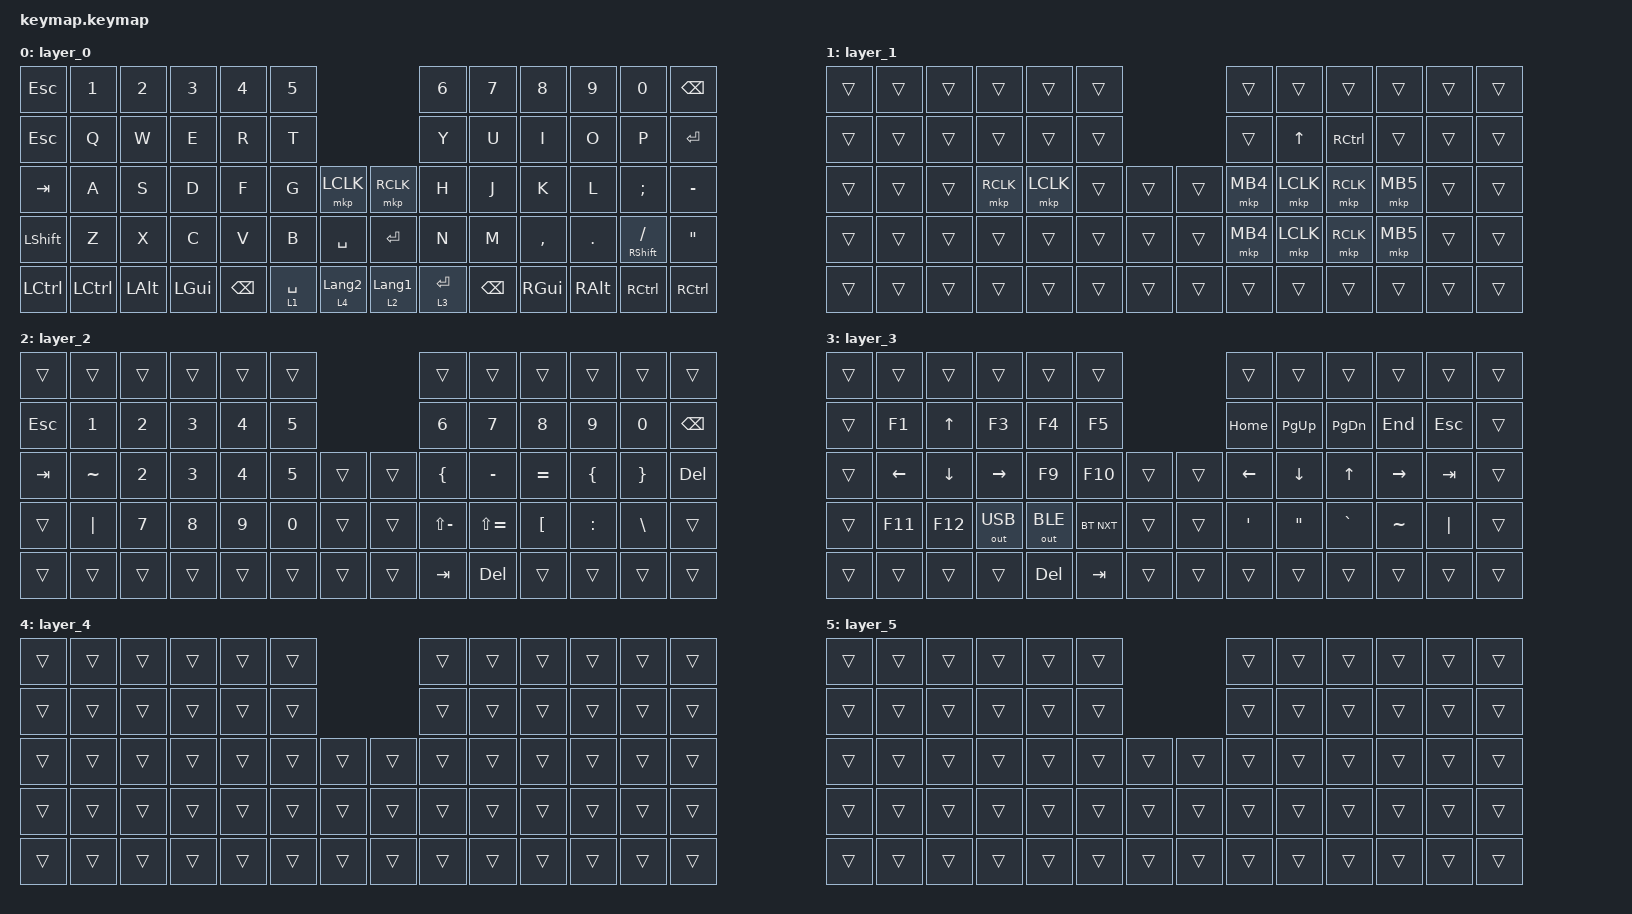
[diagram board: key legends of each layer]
#include <behaviors.dtsi>
#include <dt-bindings/zmk/bt.h>
#include <dt-bindings/zmk/keys.h>
#include <dt-bindings/zmk/outputs.h>
#include <dt-bindings/zmk/pointing.h>

/ {
    combos {
        compatible = "zmk,combos";

        bt_clear {
            bindings = <&bt BT_CLR>;
            key-positions = <28 29>;
            layers = <2>;
        };
    };

    keymap {
        compatible = "zmk,keymap";

        layer_0 {
            bindings = <
&kp ESC    &kp N1     &kp N2        &kp N3        &kp N4         &kp N5                                           &kp N6       &kp N7    &kp N8         &kp N9         &kp N0                &kp BSPC
&kp ESC    &kp Q      &kp W         &kp E         &kp R          &kp T                                            &kp Y        &kp U     &kp I          &kp O          &kp P                 &kp ENTER
&kp TAB    &kp A      &kp S         &kp D         &kp F          &kp G        &mkp LCLK         &mkp RCLK         &kp H        &kp J     &kp K          &kp L          &kp SEMI              &kp MINUS
&kp LSHFT  &kp Z      &kp X         &kp C         &kp V          &kp B        &kp SPACE         &kp RET           &kp N        &kp M     &kp COMMA      &kp DOT        &mt RIGHT_SHIFT FSLH  &kp DQT
&kp LCTRL  &kp LCTRL  &kp LEFT_ALT  &kp LEFT_GUI  &kp BACKSPACE  &lt 1 SPACE  &lt 4 LANGUAGE_2  &lt 2 LANGUAGE_1  &lt 3 ENTER  &kp BSPC  &kp RIGHT_GUI  &kp RIGHT_ALT  &kp RCTRL             &kp RCTRL
            >;
        };

        layer_1 {
            bindings = <
&trans  &trans  &trans  &trans     &trans     &trans                  &trans    &trans        &trans     &trans    &trans  &trans
&trans  &trans  &trans  &trans     &trans     &trans                  &trans    &kp UP_ARROW  &kp RCTRL  &trans    &trans  &trans
&trans  &trans  &trans  &mkp RCLK  &mkp LCLK  &trans  &trans  &trans  &mkp MB4  &mkp LCLK     &mkp RCLK  &mkp MB5  &trans  &trans
&trans  &trans  &trans  &trans     &trans     &trans  &trans  &trans  &mkp MB4  &mkp LCLK     &mkp RCLK  &mkp MB5  &trans  &trans
&trans  &trans  &trans  &trans     &trans     &trans  &trans  &trans  &trans    &trans        &trans     &trans    &trans  &trans
            >;
        };

        layer_2 {
            bindings = <
&trans   &trans        &trans        &trans  &trans  &trans                  &trans          &trans         &trans            &trans          &trans           &trans
&kp ESC  &kp NUMBER_1  &kp NUMBER_2  &kp N3  &kp N4  &kp N5                  &kp N6          &kp N7         &kp N8            &kp N9          &kp N0           &kp BACKSPACE
&kp TAB  &kp TILDE     &kp N2        &kp N3  &kp N4  &kp N5  &trans  &trans  &kp LEFT_BRACE  &kp MINUS      &kp EQUAL         &kp LEFT_BRACE  &kp RIGHT_BRACE  &kp DEL
&trans   &kp PIPE      &kp N7        &kp N8  &kp N9  &kp N0  &trans  &trans  &kp LS(MINUS)   &kp LS(EQUAL)  &kp LEFT_BRACKET  &kp COLON       &kp BACKSLASH    &trans
&trans   &trans        &trans        &trans  &trans  &trans  &trans  &trans  &kp TAB         &kp DEL        &trans            &trans          &trans           &trans
            >;
        };

        layer_3 {
            bindings = <
&trans  &trans          &trans          &trans           &trans        &trans                      &trans            &trans     &trans         &trans     &trans      &trans
&trans  &kp F1          &kp UP_ARROW    &kp F3           &kp F4        &kp F5                      &kp HOME          &kp PG_UP  &kp PAGE_DOWN  &kp END    &kp ESCAPE  &trans
&trans  &kp LEFT_ARROW  &kp DOWN_ARROW  &kp RIGHT_ARROW  &kp F9        &kp F10     &trans  &trans  &kp LEFT          &kp DOWN   &kp UP_ARROW   &kp RIGHT  &kp TAB     &trans
&trans  &kp F11         &kp F12         &out OUT_USB     &out OUT_BLE  &bt BT_NXT  &trans  &trans  &kp SINGLE_QUOTE  &kp DQT    &kp GRAVE      &kp TILDE  &kp PIPE    &trans
&trans  &trans          &trans          &trans           &kp DELETE    &kp TAB     &trans  &trans  &trans            &trans     &trans         &trans     &trans      &trans
            >;
        };

        layer_4 {
            bindings = <
&trans  &trans  &trans  &trans  &trans  &trans                  &trans  &trans  &trans  &trans  &trans  &trans
&trans  &trans  &trans  &trans  &trans  &trans                  &trans  &trans  &trans  &trans  &trans  &trans
&trans  &trans  &trans  &trans  &trans  &trans  &trans  &trans  &trans  &trans  &trans  &trans  &trans  &trans
&trans  &trans  &trans  &trans  &trans  &trans  &trans  &trans  &trans  &trans  &trans  &trans  &trans  &trans
&trans  &trans  &trans  &trans  &trans  &trans  &trans  &trans  &trans  &trans  &trans  &trans  &trans  &trans
            >;
        };

        layer_5 {
            bindings = <
&trans  &trans  &trans  &trans  &trans  &trans                  &trans  &trans  &trans  &trans  &trans  &trans
&trans  &trans  &trans  &trans  &trans  &trans                  &trans  &trans  &trans  &trans  &trans  &trans
&trans  &trans  &trans  &trans  &trans  &trans  &trans  &trans  &trans  &trans  &trans  &trans  &trans  &trans
&trans  &trans  &trans  &trans  &trans  &trans  &trans  &trans  &trans  &trans  &trans  &trans  &trans  &trans
&trans  &trans  &trans  &trans  &trans  &trans  &trans  &trans  &trans  &trans  &trans  &trans  &trans  &trans
            >;
        };
    };
};
